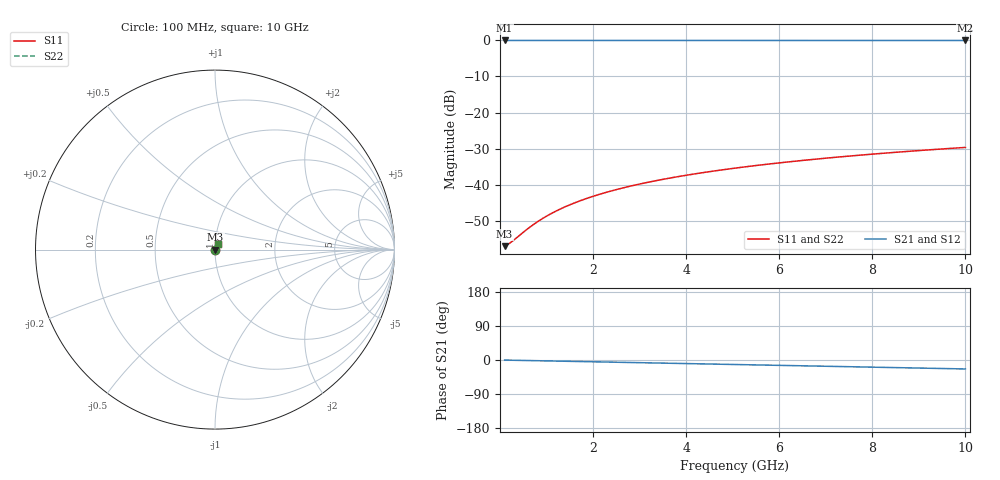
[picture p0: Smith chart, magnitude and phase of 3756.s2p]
# Hz S RI R 50.00
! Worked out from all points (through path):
!   100 points, 100 MHz to 10 GHz, reference 50 ohm
!   highest |S21| = -0.01 dB at 100 MHz (marker M1); lowest = 0.0 dB at 10 GHz (marker M2)
!   group delay of S21, straight-line fit = 6.57 ps
!   lowest |S11| = -57.1 dB at 100 MHz (marker M3), VSWR 1.00, Z = 50.1 + j0.0334 ohm
!   |S11| at or under -10 dB: start of sweep to end of sweep
!   |S22| runs from -57.1 to -29.7 dB; largest |S21 - S12| = 0
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1e8  0.00136 0.000333  0.9986 -0.0041  0.9986 -0.0041  0.00136 0.000333
2e8  0.00138 0.000666  0.9986 -0.00819  0.9986 -0.00819  0.00138 0.000666
3e8  0.00139 0.000998  0.9985 -0.0123  0.9985 -0.0123  0.00139 0.000998
6e8  0.00143 0.002  0.9983 -0.0246  0.9983 -0.0246  0.00143 0.002
7e8  0.00145 0.00233  0.9982 -0.0287  0.9982 -0.0287  0.00145 0.00233
8e8  0.00148 0.00266  0.998 -0.0328  0.998 -0.0328  0.00148 0.00266
1e9  0.00153 0.00332  0.9977 -0.041  0.9977 -0.041  0.00153 0.00332
1.2e9  0.00159 0.00398  0.9973 -0.0491  0.9973 -0.0491  0.00159 0.00398
1.4e9  0.00166 0.00464  0.9969 -0.0573  0.9969 -0.0573  0.00166 0.00464
1.6e9  0.00175 0.0053  0.9964 -0.0655  0.9964 -0.0655  0.00175 0.0053
1.8e9  0.00184 0.00596  0.9958 -0.0737  0.9958 -0.0737  0.00184 0.00596
2.1e9  0.002 0.00694  0.9948 -0.086  0.9948 -0.086  0.002 0.00694
2.5e9  0.00225 0.00824  0.9932 -0.1023  0.9932 -0.1023  0.00225 0.00824
2.9e9  0.00255 0.00953  0.9914 -0.1186  0.9914 -0.1186  0.00255 0.00953
3.4e9  0.00297 0.0111  0.9887 -0.139  0.9887 -0.139  0.00297 0.0111
4.2e9  0.00379 0.0136  0.9835 -0.1714  0.9835 -0.1714  0.00379 0.0136
5.1e9  0.00491 0.0164  0.9764 -0.2078  0.9764 -0.2078  0.00491 0.0164
5.9e9  0.00607 0.0188  0.9689 -0.2399  0.9689 -0.2399  0.00607 0.0188
6.7e9  0.00739 0.0211  0.9604 -0.2718  0.9604 -0.2718  0.00739 0.0211
7.5e9  0.00886 0.0233  0.9508 -0.3034  0.9508 -0.3034  0.00886 0.0233
8.4e9  0.0107 0.0256  0.9387 -0.3386  0.9387 -0.3386  0.0107 0.0256
1e10  0.0144 0.0295  0.914 -0.4002  0.914 -0.4002  0.0144 0.0295
